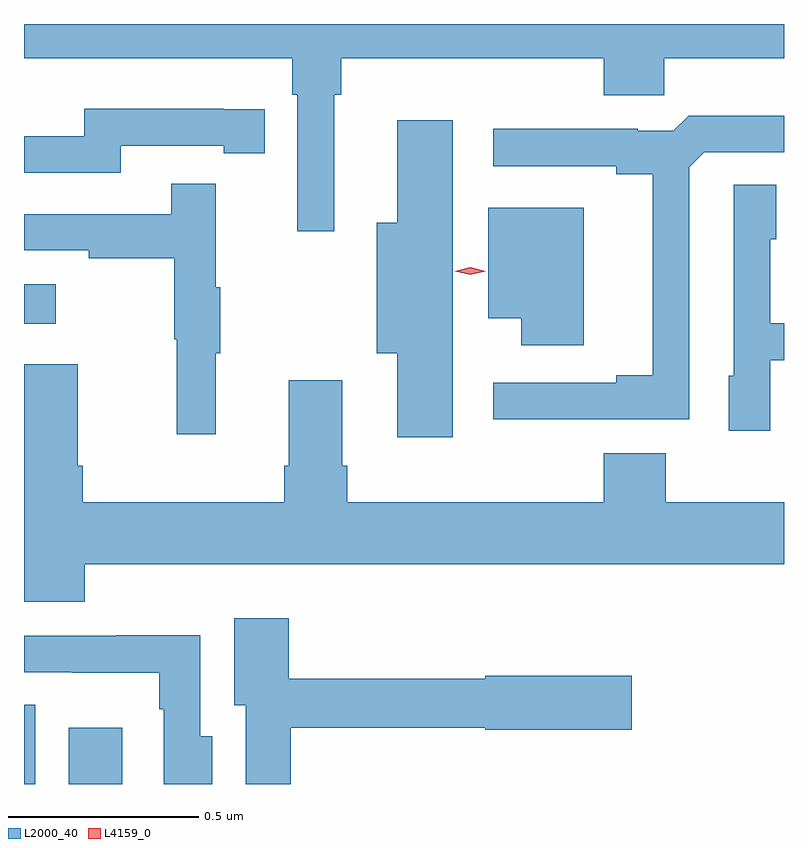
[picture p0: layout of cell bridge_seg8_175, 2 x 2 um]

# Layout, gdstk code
import gdstk
lib = gdstk.Library(unit=1e-6, precision=1e-09)
def R(c, l, rs):  # rectangles x0, y0, x1, y1
    for r in rs: c.add(gdstk.rectangle(r[:2], r[2:], *l))
def P(c, l, *ps):  # polygons
    for p in ps: c.add(gdstk.Polygon(p, *l))
L2000_40 = (2000, 40)
L4159_0 = (4159, 0)

bridge_seg8_175 = lib.new_cell('bridge_seg8_175')
R(bridge_seg8_175, L2000_40, [(400.12,1103.934,400.15,1104.143), (400.238,1103.934,400.378,1104.082), (400.12,1105.145,400.204,1105.249)])
P(bridge_seg8_175, L2000_40, [(400.936,1105.748),(400.955,1105.748),(400.955,1105.844),(401.645,1105.844),(401.645,1105.746),(401.805,1105.746),(401.805,1105.844),(402.12,1105.844),(402.12,1105.934),(400.12,1105.934),(400.12,1105.844),(400.826,1105.844),(400.826,1105.748),(400.839,1105.748),(400.839,1105.389),(400.936,1105.389)],
  [(400.374,1105.614),(400.646,1105.614),(400.646,1105.594),(400.754,1105.594),(400.754,1105.71),(400.646,1105.71),(400.646,1105.711),(400.278,1105.711),(400.278,1105.638),(400.12,1105.638),(400.12,1105.542),(400.374,1105.542)],
  [(401.871,1105.557),(401.91,1105.596),(402.12,1105.596),(402.12,1105.693),(401.869,1105.693),(401.829,1105.653),(401.735,1105.653),(401.735,1105.658),(401.355,1105.658),(401.355,1105.56),(401.678,1105.56),(401.678,1105.538),(401.774,1105.538),(401.774,1105.01),(401.678,1105.01),(401.678,1104.99),(401.355,1104.99),(401.355,1104.894),(401.871,1104.894)],
  [(401.248,1105.681),(401.102,1105.681),(401.102,1105.411),(401.048,1105.411),(401.048,1105.067),(401.102,1105.067),(401.102,1104.846),(401.248,1104.846)],
  [(400.625,1105.067),(400.636,1105.067),(400.636,1105.241),(400.625,1105.241),(400.625,1105.513),(400.507,1105.513),(400.507,1105.434),(400.12,1105.434),(400.12,1105.338),(400.291,1105.338),(400.291,1105.318),(400.515,1105.318),(400.515,1105.104),(400.522,1105.104),(400.522,1104.855),(400.625,1104.855)],
  [(402.084,1105.049),(402.12,1105.049),(402.12,1105.146),(402.084,1105.146),(402.084,1105.368),(402.1,1105.368),(402.1,1105.511),(401.988,1105.511),(401.988,1105.008),(401.975,1105.008),(401.975,1104.864),(402.084,1104.864)],
  [(401.593,1105.45),(401.342,1105.45),(401.342,1105.16),(401.429,1105.16),(401.429,1105.088),(401.593,1105.088)],
  [(400.28,1104.512),(402.12,1104.512),(402.12,1104.676),(401.809,1104.676),(401.809,1104.805),(401.645,1104.805),(401.645,1104.676),(400.97,1104.676),(400.97,1104.772),(400.957,1104.772),(400.957,1104.997),(400.817,1104.997),(400.817,1104.772),(400.805,1104.772),(400.805,1104.676),(400.274,1104.676),(400.274,1104.772),(400.261,1104.772),(400.261,1105.039),(400.121,1105.039),(400.121,1104.772),(400.12,1104.772),(400.12,1104.413),(400.28,1104.413)],
  [(400.822,1104.082),(401.334,1104.082),(401.334,1104.077),(401.719,1104.077),(401.719,1104.219),(401.334,1104.219),(401.334,1104.211),(400.817,1104.211),(400.817,1104.37),(400.673,1104.37),(400.673,1104.141),(400.703,1104.141),(400.703,1103.934),(400.822,1103.934)],
  [(400.615,1104.06),(400.584,1104.06),(400.584,1104.326),(400.363,1104.326),(400.363,1104.324),(400.12,1104.324),(400.12,1104.228),(400.246,1104.228),(400.246,1104.227),(400.476,1104.227),(400.476,1104.131),(400.488,1104.131),(400.488,1103.934),(400.615,1103.934)])
P(bridge_seg8_175, L4159_0, [(401.294,1105.274),(401.254,1105.284),(401.253,1105.284),(401.254,1105.284),(401.294,1105.294),(401.335,1105.284),(401.335,1105.284),(401.335,1105.284)])

lib.write_gds('bridge_seg8_175.gds')
